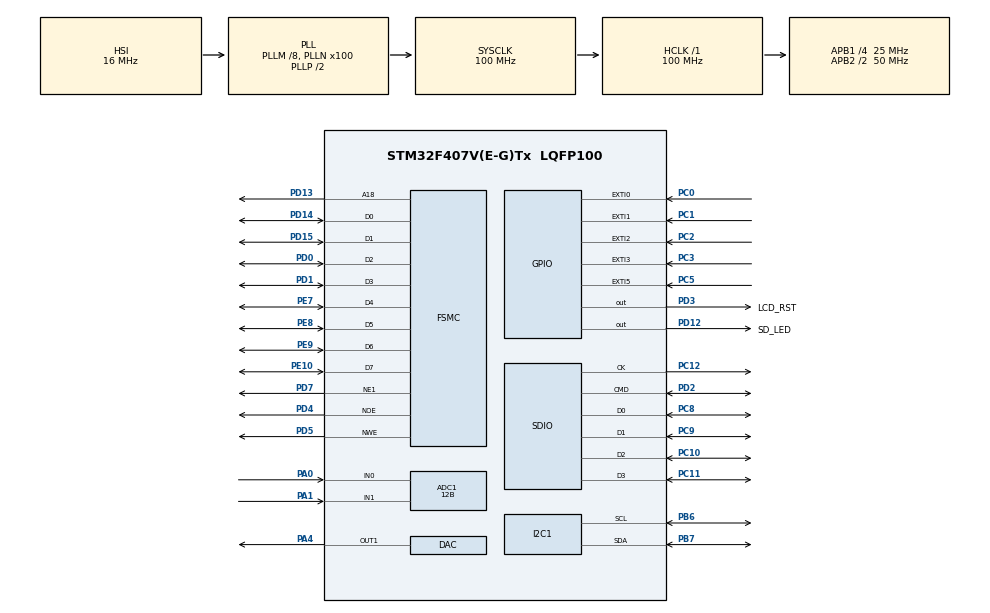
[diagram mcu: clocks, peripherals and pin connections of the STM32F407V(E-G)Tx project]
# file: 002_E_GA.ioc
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ADC1.Channel-0\#ChannelRegularConversion=ADC_CHANNEL_1
ADC1.Channel-1\#ChannelRegularConversion=ADC_CHANNEL_0
ADC1.ClockPrescaler=ADC_CLOCK_SYNC_PCLK_DIV2
ADC1.ContinuousConvMode=ENABLE
ADC1.DMAContinuousRequests=ENABLE
ADC1.DataAlign=ADC_DATAALIGN_RIGHT
ADC1.DiscontinuousConvMode=DISABLE
ADC1.EOCSelection=ADC_EOC_SINGLE_CONV
ADC1.EnableAnalogWatchDog=false
ADC1.ExternalTrigConv=ADC_SOFTWARE_START
ADC1.ExternalTrigConvEdge=ADC_EXTERNALTRIGCONVEDGE_NONE
ADC1.InjNumberOfConversion=0
ADC1.NbrOfConversion=2
ADC1.NbrOfConversionFlag=1
ADC1.Rank-0\#ChannelRegularConversion=1
ADC1.Rank-1\#ChannelRegularConversion=2
ADC1.Resolution=ADC_RESOLUTION_12B
ADC1.SamplingTime-0\#ChannelRegularConversion=ADC_SAMPLETIME_144CYCLES
ADC1.SamplingTime-1\#ChannelRegularConversion=ADC_SAMPLETIME_144CYCLES
ADC1.ScanConvMode=ENABLE
ADC1.master=1
DAC.DAC_Trigger=DAC_TRIGGER_T8_TRGO
Dma.ADC1.3.Direction=DMA_PERIPH_TO_MEMORY
Dma.ADC1.3.FIFOMode=DMA_FIFOMODE_DISABLE
Dma.ADC1.3.Instance=DMA2_Stream0
Dma.ADC1.3.MemDataAlignment=DMA_MDATAALIGN_HALFWORD
Dma.ADC1.3.MemInc=DMA_MINC_ENABLE
Dma.ADC1.3.Mode=DMA_CIRCULAR
Dma.ADC1.3.PeriphDataAlignment=DMA_PDATAALIGN_HALFWORD
Dma.ADC1.3.PeriphInc=DMA_PINC_DISABLE
Dma.ADC1.3.Priority=DMA_PRIORITY_LOW
Dma.DAC1.0.Direction=DMA_MEMORY_TO_PERIPH
Dma.DAC1.0.FIFOMode=DMA_FIFOMODE_DISABLE
Dma.DAC1.0.Instance=DMA1_Stream5
Dma.DAC1.0.MemDataAlignment=DMA_MDATAALIGN_HALFWORD
Dma.DAC1.0.MemInc=DMA_MINC_ENABLE
Dma.DAC1.0.Mode=DMA_CIRCULAR
Dma.DAC1.0.PeriphDataAlignment=DMA_PDATAALIGN_HALFWORD
Dma.DAC1.0.PeriphInc=DMA_PINC_DISABLE
Dma.DAC1.0.Priority=DMA_PRIORITY_LOW
Dma.Request0=DAC1
Dma.Request1=SDIO_TX
Dma.Request2=SDIO_RX
Dma.Request3=ADC1
Dma.SDIO_RX.2.Direction=DMA_PERIPH_TO_MEMORY
Dma.SDIO_RX.2.FIFOMode=DMA_FIFOMODE_ENABLE
Dma.SDIO_RX.2.FIFOThreshold=DMA_FIFO_THRESHOLD_FULL
Dma.SDIO_RX.2.Instance=DMA2_Stream6
Dma.SDIO_RX.2.MemBurst=DMA_MBURST_INC4
Dma.SDIO_RX.2.MemDataAlignment=DMA_MDATAALIGN_WORD
Dma.SDIO_RX.2.MemInc=DMA_MINC_ENABLE
Dma.SDIO_RX.2.Mode=DMA_PFCTRL
Dma.SDIO_RX.2.PeriphBurst=DMA_PBURST_INC4
Dma.SDIO_RX.2.PeriphDataAlignment=DMA_PDATAALIGN_WORD
Dma.SDIO_RX.2.PeriphInc=DMA_PINC_DISABLE
Dma.SDIO_RX.2.Priority=DMA_PRIORITY_LOW
Dma.SDIO_TX.1.Direction=DMA_MEMORY_TO_PERIPH
Dma.SDIO_TX.1.FIFOMode=DMA_FIFOMODE_ENABLE
Dma.SDIO_TX.1.FIFOThreshold=DMA_FIFO_THRESHOLD_FULL
Dma.SDIO_TX.1.Instance=DMA2_Stream3
Dma.SDIO_TX.1.MemBurst=DMA_MBURST_INC4
Dma.SDIO_TX.1.MemDataAlignment=DMA_MDATAALIGN_WORD
Dma.SDIO_TX.1.MemInc=DMA_MINC_ENABLE
Dma.SDIO_TX.1.Mode=DMA_PFCTRL
Dma.SDIO_TX.1.PeriphBurst=DMA_PBURST_INC4
Dma.SDIO_TX.1.PeriphDataAlignment=DMA_PDATAALIGN_WORD
Dma.SDIO_TX.1.PeriphInc=DMA_PINC_DISABLE
Dma.SDIO_TX.1.Priority=DMA_PRIORITY_LOW
FSMC.AddressSetupTime1=6
FSMC.BusTurnAroundDuration1=0
FSMC.DataSetupTime1=6
I2C1.DutyCycle=I2C_DUTYCYCLE_2
I2C1.I2C_Mode=I2C_Fast
Mcu.Family=STM32F4
Mcu.Name=STM32F407V(E-G)Tx
Mcu.Package=LQFP100
NVIC.DMA1_Stream5_IRQn=true\:0\:0\:false\:false\:true\:false
NVIC.DMA2_Stream0_IRQn=true\:0\:0\:false\:false\:true\:false
NVIC.DMA2_Stream3_IRQn=true\:0\:0\:false\:false\:true\:false
NVIC.DMA2_Stream6_IRQn=true\:0\:0\:false\:false\:true\:false
NVIC.EXTI0_IRQn=true\:0\:0\:false\:false\:true\:true
NVIC.EXTI1_IRQn=true\:0\:0\:false\:false\:true\:true
NVIC.EXTI2_IRQn=true\:0\:0\:false\:false\:true\:true
NVIC.EXTI3_IRQn=true\:0\:0\:false\:false\:true\:true
NVIC.EXTI9_5_IRQn=true\:0\:0\:false\:false\:true\:true
NVIC.PriorityGroup=NVIC_PRIORITYGROUP_4
NVIC.SDIO_IRQn=true\:0\:0\:false\:false\:true\:true
NVIC.TIM1_UP_TIM10_IRQn=true\:0\:0\:false\:false\:true\:true
NVIC.TIM6_DAC_IRQn=true\:0\:0\:false\:false\:true\:true
PA0-WKUP.Signal=ADCx_IN0
PA1.Signal=ADCx_IN1
PA4.Signal=COMP_DAC1_group
PB6.Mode=I2C
PB6.Signal=I2C1_SCL
PB7.Mode=I2C
PB7.Signal=I2C1_SDA
PC0.Signal=GPXTI0
PC1.Signal=GPXTI1
PC10.Mode=SD_4_bits_Wide_bus
PC10.Signal=SDIO_D2
PC11.Mode=SD_4_bits_Wide_bus
PC11.Signal=SDIO_D3
PC12.Mode=SD_4_bits_Wide_bus
PC12.Signal=SDIO_CK
PC2.Signal=GPXTI2
PC3.Signal=GPXTI3
PC5.Signal=GPXTI5
PC8.Mode=SD_4_bits_Wide_bus
PC8.Signal=SDIO_D0
PC9.Mode=SD_4_bits_Wide_bus
PC9.Signal=SDIO_D1
PD0.Mode=8b-d1
PD0.Signal=FSMC_D2
PD1.Mode=8b-d1
PD1.Signal=FSMC_D3
PD12.GPIO_Label=SD_LED
PD12.Signal=GPIO_Output
PD13.Mode=A18_1
PD13.Signal=FSMC_A18
PD14.Mode=8b-d1
PD14.Signal=FSMC_D0
PD15.Mode=8b-d1
PD15.Signal=FSMC_D1
PD2.Mode=SD_4_bits_Wide_bus
PD2.Signal=SDIO_CMD
PD3.GPIO_Label=LCD_RST
PD3.Signal=GPIO_Output
PD4.Mode=Lcd1
PD4.Signal=FSMC_NOE
PD5.Mode=Lcd1
PD5.Signal=FSMC_NWE
PD7.Mode=NorPsramChipSelect1_1
PD7.Signal=FSMC_NE1
PE10.Mode=8b-d1
PE10.Signal=FSMC_D7
PE7.Mode=8b-d1
PE7.Signal=FSMC_D4
PE8.Mode=8b-d1
PE8.Signal=FSMC_D5
PE9.Mode=8b-d1
PE9.Signal=FSMC_D6
ProjectManager.HeapSize=0x2000
ProjectManager.StackSize=0x4000
ProjectManager.TargetToolchain=TrueSTUDIO
RCC.48MHZClocksFreq_Value=40000000
RCC.AHBFreq_Value=100000000
RCC.APB1CLKDivider=RCC_HCLK_DIV4
RCC.APB1Freq_Value=25000000
RCC.APB1TimFreq_Value=50000000
RCC.APB2CLKDivider=RCC_HCLK_DIV2
RCC.APB2Freq_Value=50000000
RCC.APB2TimFreq_Value=100000000
RCC.CortexFreq_Value=100000000
RCC.HCLKFreq_Value=100000000
RCC.HSE_VALUE=8000000
RCC.HSI_VALUE=16000000
RCC.LSE_VALUE=32768
RCC.PLLM=8
RCC.PLLN=100
RCC.PLLQ=5
RCC.SYSCLKFreq_VALUE=100000000
RCC.SYSCLKSource=RCC_SYSCLKSOURCE_PLLCLK
RCC.VCOOutputFreq_Value=200000000
SH.ADCx_IN0.0=ADC1_IN0,IN0
SH.ADCx_IN1.0=ADC1_IN1,IN1
SH.COMP_DAC1_group.0=DAC_OUT1,DAC_OUT1
TIM1.Period=999
TIM1.Prescaler=99
TIM2.TIM_MasterOutputTrigger=TIM_TRGO_UPDATE
TIM8.TIM_MasterOutputTrigger=TIM_TRGO_UPDATE
VP_FATFS_VS_SDIO.Mode=SDIO
VP_TIM1_VS_ClockSourceINT.Mode=Internal
VP_TIM2_VS_ClockSourceINT.Mode=Internal
VP_TIM8_VS_ClockSourceINT.Mode=Internal
board=Screen

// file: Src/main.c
#include "main.h"
#include "stm32f4xx_hal.h"
#include "adc.h"
#include "dac.h"
#include "dma.h"
#include "fatfs.h"
#include "i2c.h"
#include "sdio.h"
#include "tim.h"
#include "gpio.h"
#include "fsmc.h"
#include "splash.h"
/* USER CODE BEGIN Includes */
#define ARM_MATH_CM4
#include "arm_math.h"
#include "MA_ILI9341.h"
/* USER CODE END Includes */

/* USER CODE BEGIN PV */
/* Private variables ---------------------------------------------------------*/
#define BGCOLOR 			COLOR_WHITE
#define FCOLOR 				COLOR_BLACK
#define DEBOUNCE_TIME 		10
#define SPS 				196000
#define ADC_PRESCALER		1
#define ADC_SAMPLES 		ADC_PRESCALER*4096
#define VDD 				2.8
#define ADC_BITS			4096.0
#define MAX_AMP				20.0 //maximum Vpp
//#define MULTIPLIER			(20/VDD)*1.08 //to calculate the value between 0 and 20 Vpp
#define MULTIPLIER			(20.0/VDD)*1.076 //to calculate the value between 0 and 20 Vpp
#define BITDIVIDER			ADC_BITS/VDD //to calculate the "real" value between 0 and 3 V
#define STEP				100 //frequency steps for sweep
#define AVG					100	//for averaging the results
uint32_t pushedCtr;
struct  frame	//holds the UI information (the actual screen)
{
	uint8_t start;
	uint8_t frequency;
	uint8_t sweep;
	uint8_t amplify;
	uint8_t measure;
};

typedef struct frame UI;
UI ui = {1,0,0,0,0}; //start with ui.start =1
//uint32_t uptime = 0;
uint8_t longPress = 0;
uint8_t shortPress = 0;

int fDigit[5] = {0}; //holds frequency
int fcDigit = 0; //selected digit
int aDigit[4] = {0}; //holds  amplitude
int acDigit = 0; //selected digit
int frequency = 0; //frequency to be generated
uint32_t samples = 0; //numbers of samples per period
uint16_t *SineDynamic; //holds the dds table
uint16_t ADC_Measurement[ADC_SAMPLES]={0}; //to store the measurements
uint16_t amplitude = 0; //amplitude to be reached
float writeOut[2000][4];
float ADC_Result[ADC_SAMPLES] = {0};
volatile uint32_t debounceTime = 0;
UINT testByte;
float sum = 0; //holds the sum of ADC_Result
float rms0, rms1 = 0.0; //the rms value
uint8_t digit1 = 0;
char c[6];
uint32_t wert0, wert1;
float amp0 = 0.0, amp1 = 0.0, amp = 0;
float rmsMean1 = 0;
float rmsMean0 = 0;
float dc0 = 0, dc1=0;
uint8_t ctrl = 0;
uint8_t potOneValue[2];
uint8_t potTwoValue[2];
uint16_t aCache = 0;
uint8_t dc = 0;
uint8_t swp = 0;
FATFS myFS;
FIL myFILE;
FRESULT fr;
UINT testByte;

/*next 5 lines for digital filter, not implemented yet
float a0 = pow((1-exp(2*PI*0.1)),4);
float b1 = 4*exp(2*PI*0.1);
float b2 = -6*exp(2*PI*0.1);
float b3 = 4*pow(exp(2*PI*0.1),3);
float b4 = -pow(exp(2*PI*0.1),4);
*/

/* USER CODE END PV */

void SystemClock_Config(void);

/* USER CODE BEGIN PFP */
/* Private function prototypes -----------------------------------------------*/
void clear_ui(UI *ui);
void sweep_ui(void);
void amplify_ui(void);
void frequency_ui(void);
void start_ui(void);
void measure_ui(void);
void call_ui(void);
int debounce(void);
void create_sine(uint16_t *sine, uint32_t samples, int frequency);
/* USER CODE END PFP */

int main(void)
{

	/* MCU Configuration----------------------------------------------------------*/

	/* Reset of all peripherals, Initializes the Flash interface and the Systick. */
	HAL_Init();

	/* Configure the system clock */
	SystemClock_Config();

	/* Initialize all configured peripherals */
	MX_GPIO_Init();
	MX_DMA_Init();
	MX_ADC1_Init();
	MX_DAC_Init();
	MX_FSMC_Init();
	MX_I2C1_Init();
	MX_SDIO_SD_Init();
	MX_FATFS_Init();
	MX_TIM1_Init();
	MX_TIM2_Init();
	MX_TIM8_Init();
	/* USER CODE BEGIN 2 */
	HAL_GPIO_WritePin(LCD_RST_GPIO_Port, LCD_RST_Pin, GPIO_PIN_RESET);
	HAL_Delay(1000);
	HAL_GPIO_WritePin(LCD_RST_GPIO_Port, LCD_RST_Pin, GPIO_PIN_SET);
	ILI9341_Init();

	ILI9341_setRotation(2);
	ILI9341_Fill(BGCOLOR);
	potOneValue[0] = 0xA9;
	potOneValue[1] = 254;
	potTwoValue[0] = 0xAA;
	potTwoValue[1] = 254;
	HAL_I2C_Master_Transmit(&hi2c1, 0x50, potOneValue, 2,10 );
	HAL_I2C_Master_Transmit(&hi2c1, 0x50, potTwoValue, 2,10 );
	__HAL_TIM_CLEAR_IT(&htim1,TIM_IT_UPDATE);
	__HAL_TIM_CLEAR_IT(&htim2,TIM_IT_UPDATE);
	__HAL_TIM_CLEAR_IT(&htim8,TIM_IT_UPDATE);
	HAL_TIM_Base_Start_IT(&htim1);
	HAL_TIM_Base_Start_IT(&htim2);
	HAL_TIM_Base_Start_IT(&htim8);

	call_ui();
	if(f_mount(&myFS,SDPath, 1) == FR_OK)
	{

		char myPath[] = "FREQRESP.TXT\0";

		if(f_open(&myFILE, myPath, FA_WRITE | FA_CREATE_ALWAYS) == FR_OK)
		{
			char myData[] = "Amplitude in, Amplitude out, Frequency\0, 20*log10(Out/In)";
			f_write(&myFILE, myData, sizeof(myData), &testByte);
		}
		f_close(&myFILE);

	}

	/* USER CODE END 2 */

	/* Infinite loop */
	while (1)
	{

	}

}

void SystemClock_Config(void)
{

	RCC_OscInitTypeDef RCC_OscInitStruct;
	RCC_ClkInitTypeDef RCC_ClkInitStruct;

	/**Configure the main internal regulator output voltage
	 */
	__HAL_RCC_PWR_CLK_ENABLE();

	__HAL_PWR_VOLTAGESCALING_CONFIG(PWR_REGULATOR_VOLTAGE_SCALE1);

	/**Initializes the CPU, AHB and APB busses clocks
	 */
	RCC_OscInitStruct.OscillatorType = RCC_OSCILLATORTYPE_HSI;
	RCC_OscInitStruct.HSIState = RCC_HSI_ON;
	RCC_OscInitStruct.HSICalibrationValue = 16;
	RCC_OscInitStruct.PLL.PLLState = RCC_PLL_ON;
	RCC_OscInitStruct.PLL.PLLSource = RCC_PLLSOURCE_HSI;
	RCC_OscInitStruct.PLL.PLLM = 8;
	RCC_OscInitStruct.PLL.PLLN = 100;
	RCC_OscInitStruct.PLL.PLLP = RCC_PLLP_DIV2;
	RCC_OscInitStruct.PLL.PLLQ = 5;
	if (HAL_RCC_OscConfig(&RCC_OscInitStruct) != HAL_OK)
	{
		_Error_Handler(__FILE__, __LINE__);
	}

	/**Initializes the CPU, AHB and APB busses clocks
	 */
	RCC_ClkInitStruct.ClockType = RCC_CLOCKTYPE_HCLK|RCC_CLOCKTYPE_SYSCLK
			|RCC_CLOCKTYPE_PCLK1|RCC_CLOCKTYPE_PCLK2;
	RCC_ClkInitStruct.SYSCLKSource = RCC_SYSCLKSOURCE_PLLCLK;
	RCC_ClkInitStruct.AHBCLKDivider = RCC_SYSCLK_DIV1;
	RCC_ClkInitStruct.APB1CLKDivider = RCC_HCLK_DIV4;
	RCC_ClkInitStruct.APB2CLKDivider = RCC_HCLK_DIV2;

	if (HAL_RCC_ClockConfig(&RCC_ClkInitStruct, FLASH_LATENCY_3) != HAL_OK)
	{
		_Error_Handler(__FILE__, __LINE__);
	}

	/**Configure the Systick interrupt time
	 */
	HAL_SYSTICK_Config(HAL_RCC_GetHCLKFreq()/1000);

	/**Configure the Systick
	 */
	HAL_SYSTICK_CLKSourceConfig(SYSTICK_CLKSOURCE_HCLK);

	/* SysTick_IRQn interrupt configuration */
	HAL_NVIC_SetPriority(SysTick_IRQn, 0, 0);
}

/* USER CODE BEGIN 4 */

void HAL_ADC_ConvCpltCallback(ADC_HandleTypeDef *hadc)
{//ToDo: Make averaging a user driven parameter
	rms0 = 0, rms1 = 0;
	if(ctrl)
	{
		float offSet0 = 0.0, offSet1 = 0.0;
		for(int i = 100; i< 100+2*samples; i+=2) // mean value (DC) as float
		{
			ADC_Result[i] = (float)ADC_Measurement[i];  // copy ADC data into a float array.
			ADC_Result[i+1] = (float)ADC_Measurement[i+1];
			offSet1 += ADC_Result[i];
			offSet0 += ADC_Result[i+1];
		}

		offSet1/=samples;
		offSet0/=samples;
		for(int i = 100; i< 100+2*samples; i+=2)
		{
			ADC_Result[i]-=offSet1;
			ADC_Result[i+1]-=offSet0;
		}
		for(int i = 100; i< 100+2*samples; i+=2)
		{
			ADC_Result[i]/=BITDIVIDER;
			ADC_Result[i+1]/=BITDIVIDER;
		}
		for(int i = 100; i< 100+2*samples; i+=2)
		{
			rms1 += pow(ADC_Result[i],2);
			rms0 += pow(ADC_Result[i+1],2);
		}
		rms1=sqrt(rms1/samples)*ADC_PRESCALER;
		rms0=sqrt(rms0/samples)*ADC_PRESCALER;
		rms1 *= MULTIPLIER;
		rms0 *= MULTIPLIER;
		rms0 *= 1/(8.5e-11*pow(frequency,2)-2.7e-6*frequency+1);
		amp1 = 2*rms1*sqrt(2);
		amp0 = 2*rms0*sqrt(2);
		if(amp<1)
		{
			potOneValue[1]=254;
			potTwoValue[1]=25;
			HAL_I2C_Master_Transmit(&hi2c1, 0x50, potOneValue, 2,10 );
			HAL_I2C_Master_Transmit(&hi2c1, 0x50, potTwoValue, 2,10 );
			ctrl = 0;
			clear_ui(&ui);
			ui.frequency = 1;
			call_ui();
		}
		if(amp1 > amp*1.01)
		{
			potOneValue[1]++;
			HAL_I2C_Master_Transmit(&hi2c1, 0x50, potOneValue, 2,10 );
			if(potOneValue[1] > 254)
				potOneValue[1] = 1;
		}
		else if(amp1 < amp*0.99)
		{
			potOneValue[1]--;
			HAL_I2C_Master_Transmit(&hi2c1, 0x50, potOneValue, 2,10 );
			if(potOneValue[1] < 1)
				potOneValue[1] = 254;
		}
		else
		{
			ctrl = 0;
			clear_ui(&ui);
			if(swp)
			{
				ui.sweep = 1;
			}
			else
			{
				ui.frequency = 1;
			}
			call_ui();
		}

	}
	if(ui.measure)
	{
		static uint8_t ctr = 0;
		float offSet0 = 0.0, offSet1 = 0.0;
		for(int i = 0; i< 2*samples; i+=2) // mean value (DC) as float
		{
			ADC_Result[i] = (float)ADC_Measurement[i];  // copy ADC data into a float array.
			ADC_Result[i+1] = (float)ADC_Measurement[i+1];
			offSet1 += ADC_Result[i];
			offSet0 += ADC_Result[i+1];
		}
		offSet1/=samples;
		offSet0/=samples;
		for(int i = 0; i< 2*samples; i+=2)
		{
			ADC_Result[i]-=offSet1;
			ADC_Result[i+1]-=offSet0;
		}
		for(int i = 0; i< 2*samples; i+=2)
		{
			ADC_Result[i]/=BITDIVIDER;
			ADC_Result[i+1]/=BITDIVIDER;
		}
		for(int i = 0; i< 2*samples; i+=2)
		{
			rms1 += pow(ADC_Result[i],2);
			rms0 += pow(ADC_Result[i+1],2);
		}

		rms1=sqrt(rms1/samples)*ADC_PRESCALER;
		rms0=sqrt(rms0/samples)*ADC_PRESCALER;
		rms0 *= 1/(8.5e-11*pow(frequency,2)-2.7e-6*frequency+1);
		amp1 = rms1*2*sqrt(2);
		amp0 = rms0*2*sqrt(2);
		rmsMean1 += rms1;
		rmsMean0 += rms0;
		if(ctr == AVG-1)
		{
			rmsMean1 /= AVG;
			rmsMean0 /= AVG;
			rmsMean1 *= MULTIPLIER;
			rmsMean0 *= MULTIPLIER;
			amp1 = 2*rmsMean1*sqrt(2);
			amp0 = 2*rmsMean0*sqrt(2);
			ctr = 0;
			dc1 = offSet1;
			dc0 = offSet0;
			dc1 /= BITDIVIDER;
			dc0 /= BITDIVIDER;
			dc0 += 0.07;
			dc1 += 0.07;
			if(dc)
			{
				sprintf(c, "%.2f", dc1);
				ILI9341_printText(c, 100,100, FCOLOR, BGCOLOR, 2);
				sprintf(c, "%.2f", dc0);
				ILI9341_printText(c, 100,160, FCOLOR, BGCOLOR, 2);

			}
			else
			{
				sprintf(c, "%.2f",rmsMean1);
				ILI9341_printText(c, 100,100, FCOLOR, BGCOLOR, 2);
				sprintf(c, "%.2f", amp1);
				ILI9341_printText(c, 100,120, FCOLOR, BGCOLOR, 2);
				sprintf(c, "%.2f", rmsMean0);
				ILI9341_printText(c, 100,160, FCOLOR, BGCOLOR, 2);
				sprintf(c, "%.2f", amp0);
				ILI9341_printText(c, 100,180, FCOLOR, BGCOLOR, 2);
			}

			rmsMean1 = 0;
			rmsMean0 = 0;
		}
		ctr++;
	}
	if(ui.sweep && swp)
	{

		static uint8_t ctr = 0;
		static uint16_t sweepCtr = 0;
		float offSet0 = 0.0, offSet1 = 0.0;
		for(int i = 100; i< 100+2*samples; i+=2) // mean value (DC) as float
		{
			ADC_Result[i] = (float)ADC_Measurement[i];  // copy ADC data into a float array.
			ADC_Result[i+1] = (float)ADC_Measurement[i+1];
			offSet1 += ADC_Result[i];
			offSet0 += ADC_Result[i+1];
		}
		offSet1/=samples;
		offSet0/=samples;
		for(int i = 100; i< 100+2*samples; i+=2)
		{
			ADC_Result[i]-=offSet1;
			ADC_Result[i+1]-=offSet0;
		}
		for(int i = 100; i< 100+2*samples; i+=2)
		{
			ADC_Result[i]/=BITDIVIDER;
			ADC_Result[i+1]/=BITDIVIDER;
		}
		for(int i = 100; i< 100+2*samples; i+=2)
		{
			rms1 += pow(ADC_Result[i],2);
			rms0 += pow(ADC_Result[i+1],2);
		}

		rms1=sqrt(rms1/samples)*ADC_PRESCALER;
		rms0=sqrt(rms0/samples)*ADC_PRESCALER;
		rms0 *= 1/(8.5e-11*pow(frequency,2)-2.7e-6*frequency+1);
		amp1 = rms1*2*sqrt(2);
		amp0 = rms0*2*sqrt(2);
		rmsMean1 += rms1;
		rmsMean0 += rms0;
		if(ctr >= AVG - 1)
		{
			/*calculate mean*/
			rmsMean1 /= AVG;
			rmsMean0 /= AVG;
			rmsMean1 *= MULTIPLIER;
			rmsMean0 *= MULTIPLIER;
			amp1 = 2*rmsMean1*sqrt(2);
			amp0 = 2*rmsMean0*sqrt(2);
			//ToDo:if amp is < or > a given threshold, then repeat the measurement at that frequency

				/*Write values*/
				writeOut[sweepCtr][0] = amp1;
				writeOut[sweepCtr][1] = amp0;
				writeOut[sweepCtr][2] = (float)frequency;
				writeOut[sweepCtr][3] = 20*log10(amp0/amp1);
				sweepCtr++;
				ctr = 0;
				rmsMean1 = 0;
				rmsMean0 = 0;
				/*Create and start next sine with new frequency */
				frequency += STEP;
				samples = SPS / frequency;
				TIM8->ARR = (HAL_RCC_GetHCLKFreq()/((TIM8->PSC+1)*samples*frequency));
				free(SineDynamic);
				SineDynamic = (uint16_t*) malloc(samples * sizeof(uint16_t));
				create_sine(&SineDynamic[0], samples, frequency);
				HAL_DAC_Stop_DMA(&hdac, DAC_CHANNEL_1);
				HAL_DAC_Start_DMA(&hdac, DAC_CHANNEL_1, (uint32_t * ) SineDynamic, samples, DAC_ALIGN_12B_R);
				sprintf(c, "%.2f",(float)frequency);
				strcat(c, " Hz");
				ILI9341_printText(c, 10,110, FCOLOR, BGCOLOR, 3);
			/*What if the measurement is beyond the thresholds*/

		}
		ctr++;

		if(frequency > 20000)
		{
			swp = 0;
			ILI9341_printText("Analysis completed!", 10, 100, FCOLOR, BGCOLOR, 2);
			ILI9341_printText("\"Down\"-Button to store." , 10, 120, FCOLOR, BGCOLOR,2);
		}
	}
}
void HAL_GPIO_EXTI_Callback(uint16_t GPIO_Pin)
{
	/*"left" button*/
	if(GPIO_Pin == GPIO_PIN_0 && debounce())
	{
		call_ui();
		if(ui.frequency)
		{
			fcDigit-=1;
			if(fcDigit<0)
			{
				fcDigit = 4;
			}
		}
		if(ui.amplify)
		{
			acDigit-=1;
			if(acDigit<0)
			{
				acDigit = 3;
			}
		}
		call_ui();
	}

	/*"middle" button*/
	if(GPIO_Pin == GPIO_PIN_1 && debounce())
	{
		call_ui();
		pushedCtr = 0;
		longPress = 0;
		shortPress = 0;

		while(HAL_GPIO_ReadPin(GPIOC, GPIO_PIN_1) == 1)
		{
			pushedCtr += 1;
			if(pushedCtr > 1000000) //button was pressed for a long time
			{
				longPress = 1;
			}
			else if(pushedCtr > 500000 && pushedCtr < 1000000)
			{
				if(ui.amplify)
				{
					HAL_DAC_Stop_DMA(&hdac, DAC_CHANNEL_1);
					ILI9341_Fill(BGCOLOR);
					amplitude = 0;
					dc = 0;
					for(int i=3; i>=0;i-=1) //now let's bring all our fDigits together to form one frequency
					{
						amplitude=(amplitude+ (((uint16_t)aDigit[i])*pow(10,(3-i))));
					}
					clear_ui(&ui);
					ctrl = 1; //Control mode

					/*Create a sine with f=100 to control the amplitude*/
					frequency = 100;
					samples = SPS / frequency;
					TIM8->ARR = (HAL_RCC_GetHCLKFreq()/((TIM8->PSC+1)*samples*frequency));
					free(SineDynamic);
					SineDynamic = (uint16_t*) malloc(samples * sizeof(uint16_t));
					create_sine(&SineDynamic[0], samples, frequency);
					HAL_DAC_Start_DMA(&hdac, DAC_CHANNEL_1, (uint32_t * ) SineDynamic, samples, DAC_ALIGN_12B_R);
					potOneValue[1] = 127;
					amp = (float)amplitude/100;
					HAL_I2C_Master_Transmit(&hi2c1, 0x50, potOneValue, 2,10 );
					HAL_ADC_Start_DMA(&hadc1, (uint32_t *) ADC_Measurement, ADC_SAMPLES);
					ILI9341_printText("adjusting gain", 30, 100, FCOLOR, BGCOLOR, 2);
				}
			}
			else if(pushedCtr > 100 && pushedCtr < 20000)
			{
				shortPress = 1;
			}

			if((ui.measure && shortPress))
			{
				HAL_ADC_Start_DMA(&hadc1, (uint32_t *) ADC_Measurement, ADC_SAMPLES);
			}

			if((ui.frequency) && shortPress)
			{
				ILI9341_Fill(BGCOLOR);
				HAL_DAC_Stop_DMA(&hdac, DAC_CHANNEL_1);
				frequency = 0;
				for(int i=4; i>=0;i-=1) //now let's bring all our fDigits together.
				{
					frequency=frequency+(fDigit[i]*pow(10,(4-i)));
					dc = 0;
				}
				if(frequency == 0)
				{
					frequency = 20000;
					dc = 1;
				}
				samples = SPS / frequency;
				TIM8->ARR = (HAL_RCC_GetHCLKFreq()/((TIM8->PSC+1)*samples*frequency));
				free(SineDynamic);
				SineDynamic = (uint16_t*) malloc(samples * sizeof(uint16_t));
				create_sine(&SineDynamic[0], samples, frequency);
				HAL_DAC_Start_DMA(&hdac, DAC_CHANNEL_1, (uint32_t * ) SineDynamic, samples, DAC_ALIGN_12B_R);
				clear_ui(&ui);
				ui.measure = 1;
				if(swp)
				{
					clear_ui(&ui);
					ui.sweep = 1;
				}
				HAL_ADC_Start_DMA(&hadc1, (uint32_t *) ADC_Measurement, ADC_SAMPLES);
				call_ui();
			}
			if(ui.sweep && shortPress)
			{
				/*start sinusoidal at 100 Hz (later 10), start ADC. The logic will be in the ADC interrupt*/

			}
			if(longPress)
			{
				ILI9341_Fill(BGCOLOR);
				clear_ui(&ui);
				ui.start = 1;
			}

		}
		call_ui();
	}

	/*"up" button*/
	if(GPIO_Pin == GPIO_PIN_2 && debounce())
	{
		call_ui();
		if(ui.start == 1)
		{
			ILI9341_Fill(BGCOLOR);
			clear_ui(&ui);
			ui.amplify = 1;
		}
		if(ui.frequency)
		{
			fDigit[fcDigit]+=1;
			if(fcDigit == 0 && fDigit[fcDigit] > 2)
			{
				fDigit[fcDigit] = 0;
			}
			if(fDigit[0] ==2)
			{
				fDigit[0] = 2;
				fDigit[1] = 0;
				fDigit[2] = 0;
				fDigit[3] = 0;
				fDigit[4] = 0;
			}
			else if(fDigit[fcDigit]>9)
			{
				fDigit[fcDigit] = 0;
			}
		}
		if(ui.amplify)
		{
			aDigit[acDigit]+=1;
			if(acDigit == 0 && aDigit[acDigit] > 2)
			{
				aDigit[acDigit] = 0;
			}
			if(aDigit[0] ==2)
			{
				aDigit[0] = 2;
				aDigit[1] = 0;
				aDigit[2] = 0;
			}
			else if(aDigit[acDigit]>9)
			{
				aDigit[acDigit] = 0;
			}
		}
		call_ui();
	}

	/*"down" button*/
	if(GPIO_Pin == GPIO_PIN_3 && debounce())
	{
		call_ui();
		if(ui.start == 1)
		{
			ILI9341_Fill(BGCOLOR);
			clear_ui(&ui);
			ui.amplify = 1;
			swp = 1;
		}
		if(ui.frequency)
		{
			fDigit[fcDigit]-=1;
			if(fDigit[0]<0)
			{
				fDigit[fcDigit] = 2;
			}
			if(fDigit[0] >= 2)
			{
				fDigit[0] = 2;
				fDigit[1] = 0;
				fDigit[2] = 0;
				fDigit[3] = 0;
				fDigit[4] = 0;
			}

			if(fDigit[fcDigit]<0)
			{
				fDigit[fcDigit] = 9;
			}

		}
		if(ui.amplify)
		{
			aDigit[acDigit]-=1;
			if(aDigit[0]<0)
			{
				aDigit[acDigit] = 2;
			}
			if(aDigit[0] >= 2)
			{
				aDigit[0] = 2;
				aDigit[1] = 0;
				aDigit[2] = 0;
				aDigit[3] = 0;
			}
			if(aDigit[acDigit]<0)
			{
				aDigit[acDigit] = 9;
			}
		}
		if(ui.sweep)
		{
			//now it's time to write all that stuff to disc!
			if(!swp)
			{
				if(f_mount(&myFS,SDPath, 1) == FR_OK)
				{
					char myPath[] = "FREQRESP.TXT\0";
					if(f_open(&myFILE, myPath, FA_WRITE | FA_OPEN_APPEND) == FR_OK)
					{
						for(int ctr = 0; ctr < 2000 ;ctr++)
						{
							if(writeOut[ctr][2] !=0)
							{
								sprintf(c, "\n%.2f, %.2f, %.1f, %.2f",writeOut[ctr][0],writeOut[ctr][1], writeOut[ctr][2], writeOut[ctr][3]);
								f_puts(c, &myFILE);
							}
						}
					}

					f_close(&myFILE);

				}
			}

		}
		call_ui();
	}
	/*"right" button*/
	if(GPIO_Pin == GPIO_PIN_5 && debounce())
	{
		call_ui();
		if(ui.frequency)
		{
			fcDigit+=1;
			if(fcDigit > 4)
			{
				fcDigit = 0;
			}
		}
		if(ui.amplify)
		{
			acDigit+=1;
			if(acDigit > 3)
			{
				acDigit = 0;
			}
		}
		call_ui();
	}
}

/*the measurements are read*/

/*timer for screen printing*/
void HAL_TIM_PeriodElapsedCallback(TIM_HandleTypeDef *htim)
{
	if(htim == &htim1)
	{
		debounceTime++;
	}
}

/*creates a sinusoid*/
void create_sine(uint16_t *sine, uint32_t samples, int frequency)
{
	if(dc)
	{
		for(int i = 0; i < samples; i++)
		{
			*(sine+i) = 4000;
		}
	}
	else if(frequency > 0.0) //it's a sinusoidal
	{
		for(int i = 0; i< samples; i++)
		{
			*(sine+i) = (uint16_t) (((sin(((i*2*PI)/samples) )+1)*(4096/2)*0.96)+80);
		}
	}

}

/*call ui screen*/
void call_ui(void)
{
	if(ui.start)
	{
		start_ui();
	}
	if(ui.frequency)
	{
		frequency_ui();
	}
	if(ui.sweep)
	{
		sweep_ui();
	}
	if(ui.amplify)
	{
		amplify_ui();
	}
	if(ui.measure)
	{
		measure_ui();
	}
}

/*reset the ui, i.e. the elements of the structure 'frame'*/
void clear_ui(UI *ui)
{
	ui->amplify = 0;
	ui->frequency = 0;
	ui->start = 0;
	ui->sweep = 0;
	ui->measure = 0;
}

/*print startscreen*/
void start_ui(void)
{
	ILI9341_Fill(BGCOLOR);
	ILI9341_printText("Choose:", 10, 20, FCOLOR, BGCOLOR, 2);
	ILI9341_printText("Single Frequency (Up)", 20, 60, FCOLOR, BGCOLOR, 2);
	ILI9341_printText("Frequency Sweep (Down)", 20, 90, FCOLOR, BGCOLOR, 2);
}

/*print screen for frequency choice*/
void frequency_ui(void)
{
	char c[5] = {0};
	ILI9341_Fill(BGCOLOR);
	sprintf(c, "%d%d%d%d%d",fDigit[0],fDigit[1],fDigit[2],fDigit[3],fDigit[4] );
	ILI9341_printText("Choose Frequency:", 10, 20, FCOLOR, BGCOLOR, 2);
	ILI9341_drawChar(50,110,c[0],FCOLOR,BGCOLOR,3);
	ILI9341_drawChar(70,110,c[1],FCOLOR,BGCOLOR,3);
	ILI9341_drawChar(90,110,c[2],FCOLOR,BGCOLOR,3);
	ILI9341_drawChar(110,110,c[3],FCOLOR,BGCOLOR,3);
	ILI9341_drawChar(130,110,c[4],FCOLOR,BGCOLOR,3);
	ILI9341_printText("Hz", 160, 110, FCOLOR, BGCOLOR, 3);
	ILI9341_printText("                    ", 50, 130, FCOLOR, BGCOLOR, 3);
	switch(fcDigit) /*underline the current digit*/
	{
	case 0: ILI9341_drawChar(50,130,'-',FCOLOR,BGCOLOR,3);
	break;
	case 1:	ILI9341_drawChar(70,130,'-',FCOLOR,BGCOLOR,3);
	break;
	case 2:	ILI9341_drawChar(90,130,'-',FCOLOR,BGCOLOR,3);
	break;
	case 3:	ILI9341_drawChar(110,130,'-',FCOLOR,BGCOLOR,3);
	break;
	case 4:	ILI9341_drawChar(130,130,'-',FCOLOR,BGCOLOR,3);
	break;
	}
}

/*print screen for adjusting gain*/
void amplify_ui(void)
{
	char c[4] = {0};
	ILI9341_Fill(BGCOLOR);
	sprintf(c, "%d%d%d%d",aDigit[0],aDigit[1],aDigit[2], aDigit[3]);
	ILI9341_printText("Choose Amplitude (Vpp):", 10, 20, FCOLOR, BGCOLOR, 2);
	ILI9341_drawChar(50,110,c[0],FCOLOR,BGCOLOR,3);
	ILI9341_drawChar(70,110,c[1],FCOLOR,BGCOLOR,3);
	ILI9341_drawChar(90,110,'.',FCOLOR,BGCOLOR,3);
	ILI9341_drawChar(110,110,c[2],FCOLOR,BGCOLOR,3);
	ILI9341_drawChar(130,110,c[3],FCOLOR,BGCOLOR,3);
	ILI9341_printText("Vpp", 160, 110, FCOLOR, BGCOLOR, 3);
	ILI9341_printText("                    ", 50, 135, FCOLOR, BGCOLOR, 3);
	switch(acDigit) /*underline the current digit*/
	{
	case 0: ILI9341_drawChar(50,135,'-',FCOLOR,BGCOLOR,3);
	break;
	case 1:	ILI9341_drawChar(70,135,'-',FCOLOR,BGCOLOR,3);
	break;
	case 2:	ILI9341_drawChar(110,135,'-',FCOLOR,BGCOLOR,3);
	break;
	case 3:	ILI9341_drawChar(130,135,'-',FCOLOR,BGCOLOR,3);
	break;
	}

}

/*ToDo: new screen for sweep results, showing the actual graph*/

/*print screen for sweep information*/
void sweep_ui(void)
{
	ILI9341_Fill(BGCOLOR);
	ILI9341_printText("Analysis started,", 10, 20, FCOLOR, BGCOLOR, 3);
	ILI9341_printText("please be patient.", 10, 60, FCOLOR, BGCOLOR, 2);
	if(!swp)
	{
		ILI9341_printText("Results saved." , 20, 140, FCOLOR, BGCOLOR,2);
	}
}

/*prints the measurement on the screen*/
void measure_ui(void)
{
	char c[10];
	char vpp[6] = "  VPP";
	char rms[6] = "  RMS";
	char hz[5] = "  Hz";
	char dC[4] = "  DC";
	ILI9341_Fill(BGCOLOR);
	ILI9341_printText("Results", 100, 20, FCOLOR, BGCOLOR, 3);
	if(dc)
	{
		ILI9341_printText(dC, 100, 60, FCOLOR, BGCOLOR, 2);
		ILI9341_printText("In: ", 30, 100, FCOLOR, BGCOLOR, 2);
		sprintf(c, "%.2f ",dc1);
		strcat(c, dC);
		ILI9341_printText(c, 100,100, FCOLOR, BGCOLOR, 2);

		ILI9341_printText("Out: ", 30, 160, FCOLOR, BGCOLOR, 2);
		sprintf(c, "%.2f ", dc0);
		strcat(c, dC);
		ILI9341_printText(c, 100,160, FCOLOR, BGCOLOR, 2);
	}
	else
	{
		sprintf(c, "%d", frequency);
		strcat(c, hz);
		ILI9341_printText(c, 100, 60, FCOLOR, BGCOLOR, 2);

		ILI9341_printText("In: ", 30, 100, FCOLOR, BGCOLOR, 2);
		sprintf(c, "%.2f ",rmsMean1);
		strcat(c, rms);
		ILI9341_printText(c, 100,100, FCOLOR, BGCOLOR, 2);
		sprintf(c, "%.2f",amp1);
		strcat(c, vpp);
		ILI9341_printText(c, 100,120, FCOLOR, BGCOLOR, 2);

		ILI9341_printText("Out: ", 30, 160, FCOLOR, BGCOLOR, 2);
		sprintf(c, "%.2f ", rmsMean0);
		strcat(c, rms);
		ILI9341_printText(c, 100,160, FCOLOR, BGCOLOR, 2);
		sprintf(c, "%.2f ", amp0);
		strcat(c, vpp);
		ILI9341_printText(c, 100,180, FCOLOR, BGCOLOR, 2);

	}
}

int debounce(void)
{
	static uint16_t dTime1, dTime2 = 0;
	dTime2 = dTime1;
	dTime1 = debounceTime;
	if(dTime1 - dTime2 >= DEBOUNCE_TIME)
	{
		return 1;
	}
	else
	{
		return 0;
	}
}
/* USER CODE END 4 */

void _Error_Handler(char *file, int line)
{
	while(1)
	{
	}
}

/* USE_FULL_ASSERT */

/************************ (C) COPYRIGHT STMicroelectronics *****END OF FILE****/
